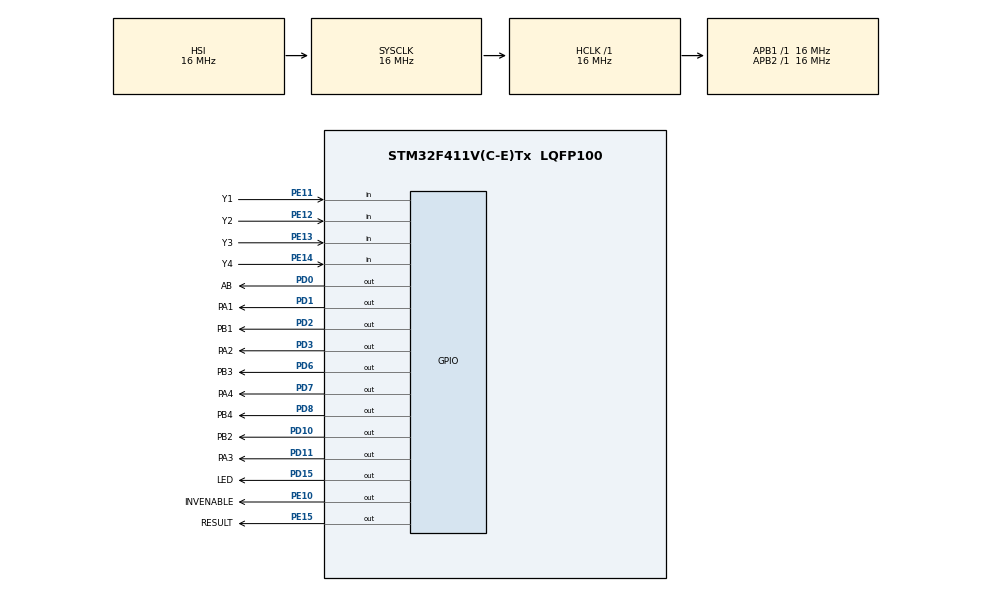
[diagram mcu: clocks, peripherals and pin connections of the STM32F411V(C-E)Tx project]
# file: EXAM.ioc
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Mcu.Family=STM32F4
Mcu.Name=STM32F411V(C-E)Tx
Mcu.Package=LQFP100
NVIC.PriorityGroup=NVIC_PRIORITYGROUP_4
PD0.GPIO_Label=AB
PD0.Signal=GPIO_Output
PD1.GPIO_Label=PA1
PD1.Signal=GPIO_Output
PD10.GPIO_Label=PB2
PD10.Signal=GPIO_Output
PD11.GPIO_Label=PA3
PD11.Signal=GPIO_Output
PD15.GPIO_Label=LED
PD15.Signal=GPIO_Output
PD2.GPIO_Label=PB1
PD2.Signal=GPIO_Output
PD3.GPIO_Label=PA2
PD3.Signal=GPIO_Output
PD6.GPIO_Label=PB3
PD6.Signal=GPIO_Output
PD7.GPIO_Label=PA4
PD7.Signal=GPIO_Output
PD8.GPIO_Label=PB4
PD8.Signal=GPIO_Output
PE10.GPIO_Label=INVENABLE
PE10.Signal=GPIO_Output
PE11.GPIO_Label=Y1
PE11.Signal=GPIO_Input
PE12.GPIO_Label=Y2
PE12.Signal=GPIO_Input
PE13.GPIO_Label=Y3
PE13.Signal=GPIO_Input
PE14.GPIO_Label=Y4
PE14.Signal=GPIO_Input
PE15.GPIO_Label=RESULT
PE15.Signal=GPIO_Output
ProjectManager.HeapSize=0x200
ProjectManager.StackSize=0x400
ProjectManager.TargetToolchain=SW4STM32
RCC.AHBFreq_Value=16000000
RCC.APB1Freq_Value=16000000
RCC.APB1TimFreq_Value=16000000
RCC.APB2Freq_Value=16000000
RCC.APB2TimFreq_Value=16000000
RCC.CortexFreq_Value=16000000
RCC.HCLKFreq_Value=16000000
RCC.HSE_VALUE=25000000
RCC.HSI_VALUE=16000000
RCC.LSE_VALUE=32768
RCC.SYSCLKFreq_VALUE=16000000
RCC.VCOOutputFreq_Value=192000000
board=custom

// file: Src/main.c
/* USER CODE BEGIN Header */
/**
  ******************************************************************************
  * @file           : main.c
  * @brief          : Main program body
  ******************************************************************************
  * @attention
  *
  * <h2><center>&copy; Copyright (c) 2020 STMicroelectronics.
  * All rights reserved.</center></h2>
  *
  * This software component is licensed by ST under BSD 3-Clause license,
  * the "License"; You may not use this file except in compliance with the
  * License. You may obtain a copy of the License at:
  *                        opensource.org/licenses/BSD-3-Clause
  *
  ******************************************************************************
  */
#define ENABLED 0
#define DISABLED 1
/* USER CODE END Header */

#include "main.h"
#include "gpio.h"

void SystemClock_Config(void);
/* USER CODE BEGIN PFP */

uint16_t WORKING = 1;
uint16_t EnA = 1;
uint16_t prevA = 1;
uint16_t prevB = 1;
uint16_t PortsA[] = {PA1_Pin, PA2_Pin, PA3_Pin, PA4_Pin};
uint16_t PortsB[] = {PB1_Pin, PB2_Pin, PB3_Pin, PB4_Pin};
uint16_t PortsY[] = {Y1_Pin, Y2_Pin, Y3_Pin, Y4_Pin};

static inline void start(){
	  HAL_GPIO_WritePin(AB_GPIO_Port, AB_Pin, GPIO_PIN_RESET);
	  HAL_GPIO_WritePin(LED_GPIO_Port, LED_Pin, GPIO_PIN_SET);
 }
static inline void finish(){
	  HAL_GPIO_WritePin(LED_GPIO_Port, LED_Pin, GPIO_PIN_RESET);
 };
static inline void result(){
	  HAL_GPIO_WritePin(RESULT_GPIO_Port, RESULT_Pin, WORKING);
 }
static inline void checker(int a, int b) {
	  if (EnA == 1) {
		  if (!(HAL_GPIO_ReadPin(Y1_GPIO_Port, PortsY[a]) == prevA)) {
			  WORKING = 0;
		  }
	  } else {
		  if (!(HAL_GPIO_ReadPin(Y1_GPIO_Port, PortsY[b]) == prevB)) {
			  WORKING = 0;
		  }
	  }
 }
/* USER CODE END PFP */

int main(void)
{
  /* USER CODE BEGIN 1 */
	inline void enable(){
	    HAL_GPIO_WritePin(INVENABLE_GPIO_Port, INVENABLE_Pin, GPIO_PIN_RESET);
    }
	inline void disable(){
	    HAL_GPIO_WritePin(INVENABLE_GPIO_Port, INVENABLE_Pin, GPIO_PIN_SET);
	}
  /* USER CODE END 1 */

  /* MCU Configuration--------------------------------------------------------*/

  /* Reset of all peripherals, Initializes the Flash interface and the Systick. */
  HAL_Init();

  /* Configure the system clock */
  SystemClock_Config();

  /* Initialize all configured peripherals */
  MX_GPIO_Init();
  /* USER CODE BEGIN 2 */
  enable();
  start();
  result();
//  result();
  /* USER CODE END 2 */

  /* Infinite loop */
  /* USER CODE BEGIN WHILE */
//  while (1)
//  {
    /* USER CODE END WHILE */

    /* USER CODE BEGIN 3 */
  for (int _ =0; _<2; _++){
	  for (int a = 0; a < 4; a++) {
		  for(int b = 0; b < 4; b++) {
			  HAL_GPIO_WritePin(PA1_GPIO_Port, PortsA[a], GPIO_PIN_SET);
			  HAL_GPIO_WritePin(PB1_GPIO_Port, PortsB[b], GPIO_PIN_SET);
			  prevA = 1;
			  prevB = 1;
			  HAL_Delay(10);
			  checker(a, b);
			  HAL_GPIO_TogglePin(PA1_GPIO_Port, PortsA[a]);
			  prevA = 0;
			  HAL_Delay(10);
			  checker(a, b);
			  HAL_GPIO_TogglePin(PB1_GPIO_Port, PortsB[b]);
			  prevB = 0;
			  HAL_Delay(10);
			  checker(a, b);
			  HAL_GPIO_TogglePin(PA1_GPIO_Port, PortsA[a]);
			  prevA = 1;
			  HAL_Delay(10);
			  checker(a, b);
			  result();
		  }

	  }
	  HAL_GPIO_TogglePin(AB_GPIO_Port, AB_Pin);
	  EnA = 0;
  }
  finish();
  result();
  }
  /* USER CODE END 3 */
//}

void SystemClock_Config(void)
{
  RCC_OscInitTypeDef RCC_OscInitStruct = {0};
  RCC_ClkInitTypeDef RCC_ClkInitStruct = {0};

  /** Configure the main internal regulator output voltage
  */
  __HAL_RCC_PWR_CLK_ENABLE();
  __HAL_PWR_VOLTAGESCALING_CONFIG(PWR_REGULATOR_VOLTAGE_SCALE1);
  /** Initializes the CPU, AHB and APB busses clocks
  */
  RCC_OscInitStruct.OscillatorType = RCC_OSCILLATORTYPE_HSI;
  RCC_OscInitStruct.HSIState = RCC_HSI_ON;
  RCC_OscInitStruct.HSICalibrationValue = RCC_HSICALIBRATION_DEFAULT;
  RCC_OscInitStruct.PLL.PLLState = RCC_PLL_NONE;
  if (HAL_RCC_OscConfig(&RCC_OscInitStruct) != HAL_OK)
  {
    Error_Handler();
  }
  /** Initializes the CPU, AHB and APB busses clocks
  */
  RCC_ClkInitStruct.ClockType = RCC_CLOCKTYPE_HCLK|RCC_CLOCKTYPE_SYSCLK
                              |RCC_CLOCKTYPE_PCLK1|RCC_CLOCKTYPE_PCLK2;
  RCC_ClkInitStruct.SYSCLKSource = RCC_SYSCLKSOURCE_HSI;
  RCC_ClkInitStruct.AHBCLKDivider = RCC_SYSCLK_DIV1;
  RCC_ClkInitStruct.APB1CLKDivider = RCC_HCLK_DIV1;
  RCC_ClkInitStruct.APB2CLKDivider = RCC_HCLK_DIV1;

  if (HAL_RCC_ClockConfig(&RCC_ClkInitStruct, FLASH_LATENCY_0) != HAL_OK)
  {
    Error_Handler();
  }
}

void Error_Handler(void)
{
}

/************************ (C) COPYRIGHT STMicroelectronics *****END OF FILE****/
